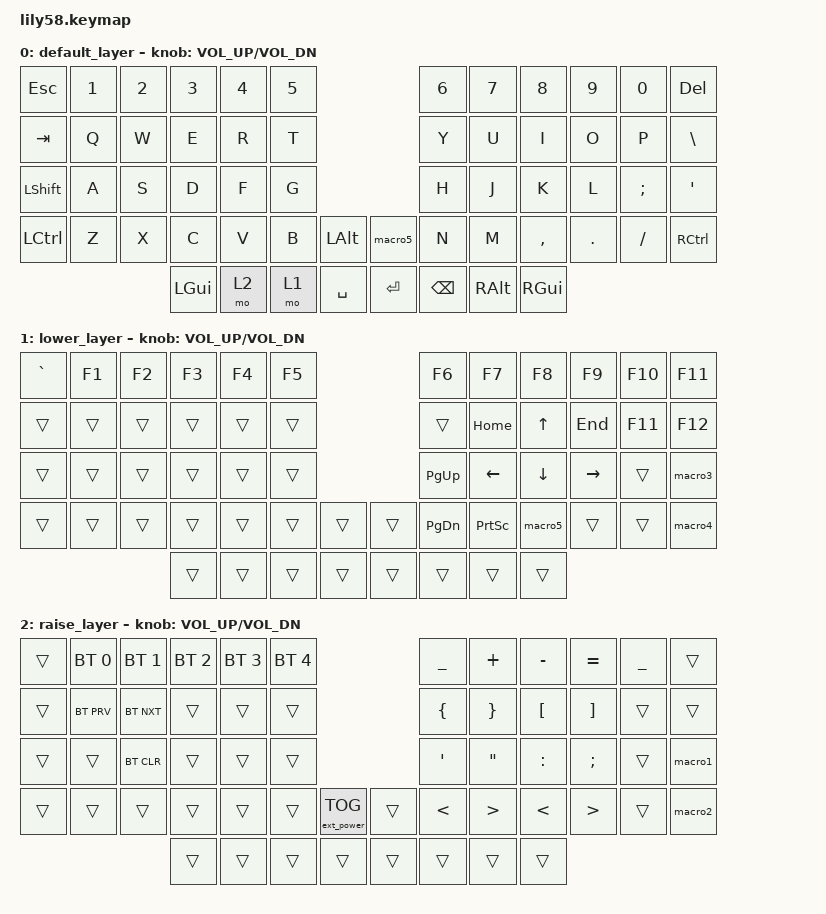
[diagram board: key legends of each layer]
/*
 * Copyright (c) 2020 The ZMK Contributors
 *
 * SPDX-License-Identifier: MIT
 * 
 * Migrated from Vial Silakka 54 configuration
 * Configured for nice!view e-paper displays
 */

#include <behaviors.dtsi>
#include <dt-bindings/zmk/keys.h>
#include <dt-bindings/zmk/bt.h>
#include <dt-bindings/zmk/ext_power.h>

/ {
    keymap {
        compatible = "zmk,keymap";

        default_layer {
// ------------------------------------------------------------------------------------------------------------
// |  ESC  |  1  |  2  |  3   |  4   |  5   |                   |  6   |  7    |  8    |  9   |   0   |  DEL  |
// |  TAB  |  Q  |  W  |  E   |  R   |  T   |                   |  Y   |  U    |  I    |  O   |   P   |   \   |
// | SHIFT |  A  |  S  |  D   |  F   |  G   |                   |  H   |  J    |  K    |  L   |   ;   |   '   |
// | CTRL  |  Z  |  X  |  C   |  V   |  B   |  LALT |  | SCRN  |  N   |  M    |  ,    |  .   |   /   | RCTRL |
//                     | LGUI | MO(2)| MO(1)|  SPACE |  | ENTER | BSPC | RALT  | RGUI  |
// Left inner: LALT, Right inner: SCRN (Ctrl+PrintScreen for screenshots)
            bindings = <
&kp ESC   &kp N1 &kp N2 &kp N3   &kp N4   &kp N5                             &kp N6 &kp N7    &kp N8    &kp N9  &kp N0   &kp DEL
&kp TAB   &kp Q  &kp W  &kp E    &kp R    &kp T                              &kp Y  &kp U     &kp I     &kp O   &kp P    &kp BSLH
&kp LSHFT &kp A  &kp S  &kp D    &kp F    &kp G                              &kp H  &kp J     &kp K     &kp L   &kp SEMI &kp SQT
&kp LCTRL &kp Z  &kp X  &kp C    &kp V    &kp B    &kp LALT    &macro5      &kp N  &kp M     &kp COMMA &kp DOT &kp FSLH &kp RCTRL
                        &kp LGUI &mo 2    &mo 1    &kp SPACE   &kp ENTER    &kp BSPC &kp RALT &kp RGUI
            >;

            sensor-bindings = <&inc_dec_kp C_VOL_UP C_VOL_DN>;
        };

        lower_layer {
// ------------------------------------------------------------------------------------------------------------
// | GRAVE |  F1 |  F2 |  F3  |  F4  |  F5  |                   |  F6  |  F7   |  F8   |  F9  |  F10  |  F11  |
// |   `   |     |     |      |      |      |                   |      | HOME  |  UP   | END  |  F11  |  F12  |
// |       |     |     |      |      |      |                   | PGUP | LEFT  | DOWN  | RIGHT|       |  M3   |
// |       |     |     |      |      |      |      |            | PGDN | PSCRN |  M4   |      |       |  M4   |
//                     |      |      |      |      |            |      |       |       |
            bindings = <
&kp GRAVE &kp F1    &kp F2    &kp F3    &kp F4    &kp F5                       &kp F6    &kp F7     &kp F8   &kp F9    &kp F10   &kp F11
&trans    &trans    &trans    &trans    &trans    &trans                       &trans    &kp HOME   &kp UP   &kp END   &kp F11   &kp F12
&trans    &trans    &trans    &trans    &trans    &trans                       &kp PG_UP &kp LEFT   &kp DOWN &kp RIGHT &trans    &macro3
&trans    &trans    &trans    &trans    &trans    &trans   &trans   &trans    &kp PG_DN &kp PSCRN  &macro5  &trans    &trans    &macro4
                              &trans    &trans    &trans   &trans   &trans    &trans    &trans     &trans
            >;

            sensor-bindings = <&inc_dec_kp C_VOL_UP C_VOL_DN>;
        };

        raise_layer {
// ------------------------------------------------------------------------------------------------------------
// |       | BT1  | BT2  | BT3  | BT4  | BT5  |                   |   _  |   +   |   -   |   =   |   _   |      |
// |       |BT_PRV|BT_NXT|      |      |      |                   |   {  |   }   |   [   |   ]   |       |       |
// |       |      |BT_CLR|      |      |      |                   |   '  |   "   |   :   |   ;   |       |  M1   |
// |       |      |      |      |      |      |EP_TOG |            |   <  |   >   |   <   |   >   |       |  M2   |
//                       |      |      |      |      |            |      |       |       |
            bindings = <
&trans         &bt BT_SEL 0 &bt BT_SEL 1 &bt BT_SEL 2 &bt BT_SEL 3 &bt BT_SEL 4                  &kp UNDER &kp PLUS &kp MINUS &kp EQUAL &kp UNDER &trans
&trans         &bt BT_PRV   &bt BT_NXT   &trans       &trans       &trans                        &kp LBRC  &kp RBRC  &kp LBKT  &kp RBKT  &trans    &trans
&trans         &trans       &bt BT_CLR   &trans       &trans       &trans                        &kp SQT   &kp DQT   &kp COLON &kp SEMI  &trans    &macro1
&trans         &trans       &trans       &trans       &trans       &trans       &ext_power EP_TOG  &trans   &kp LT    &kp GT    &kp LT    &kp GT    &trans    &macro2
                                         &trans       &trans       &trans       &trans  &trans   &trans    &trans    &trans
            >;

            sensor-bindings = <&inc_dec_kp C_VOL_UP C_VOL_DN>;
        };
    };

    macros {
        // M0: RCTRL + RSHIFT + F11
        macro1: macro1 {
            compatible = "zmk,behavior-macro";
            #binding-cells = <0>;
            bindings = <&macro_press &kp RCTRL &kp RSHFT &kp F11>
                     , <&macro_pause_for_release>
                     , <&macro_release &kp RCTRL &kp RSHFT &kp F11>;
        };

        // M1: RSHIFT + F11
        macro2: macro2 {
            compatible = "zmk,behavior-macro";
            #binding-cells = <0>;
            bindings = <&macro_press &kp RSHFT &kp F11>
                     , <&macro_pause_for_release>
                     , <&macro_release &kp RSHFT &kp F11>;
        };

        // M2: RALT + LEFT
        macro3: macro3 {
            compatible = "zmk,behavior-macro";
            #binding-cells = <0>;
            bindings = <&macro_press &kp RALT &kp LEFT>
                     , <&macro_pause_for_release>
                     , <&macro_release &kp RALT &kp LEFT>;
        };

        // M3: RALT + RIGHT
        macro4: macro4 {
            compatible = "zmk,behavior-macro";
            #binding-cells = <0>;
            bindings = <&macro_press &kp RALT &kp RIGHT>
                     , <&macro_pause_for_release>
                     , <&macro_release &kp RALT &kp RIGHT>;
        };

        // M4: LCTRL + PSCREEN (screenshot)
        macro5: macro5 {
            compatible = "zmk,behavior-macro";
            #binding-cells = <0>;
            bindings = <&macro_press &kp LCTRL &kp PSCRN>
                     , <&macro_pause_for_release>
                     , <&macro_release &kp LCTRL &kp PSCRN>;
        };
    };

    combos {
        compatible = "zmk,combos";
        
        // LCTRL + Quote = M2 (macro2)
        combo_macro2 {
            timeout-ms = <50>;
            key-positions = <27 45>;  // Adjust positions based on actual Lily58 matrix
            bindings = <&macro2>;
        };
    };
};
